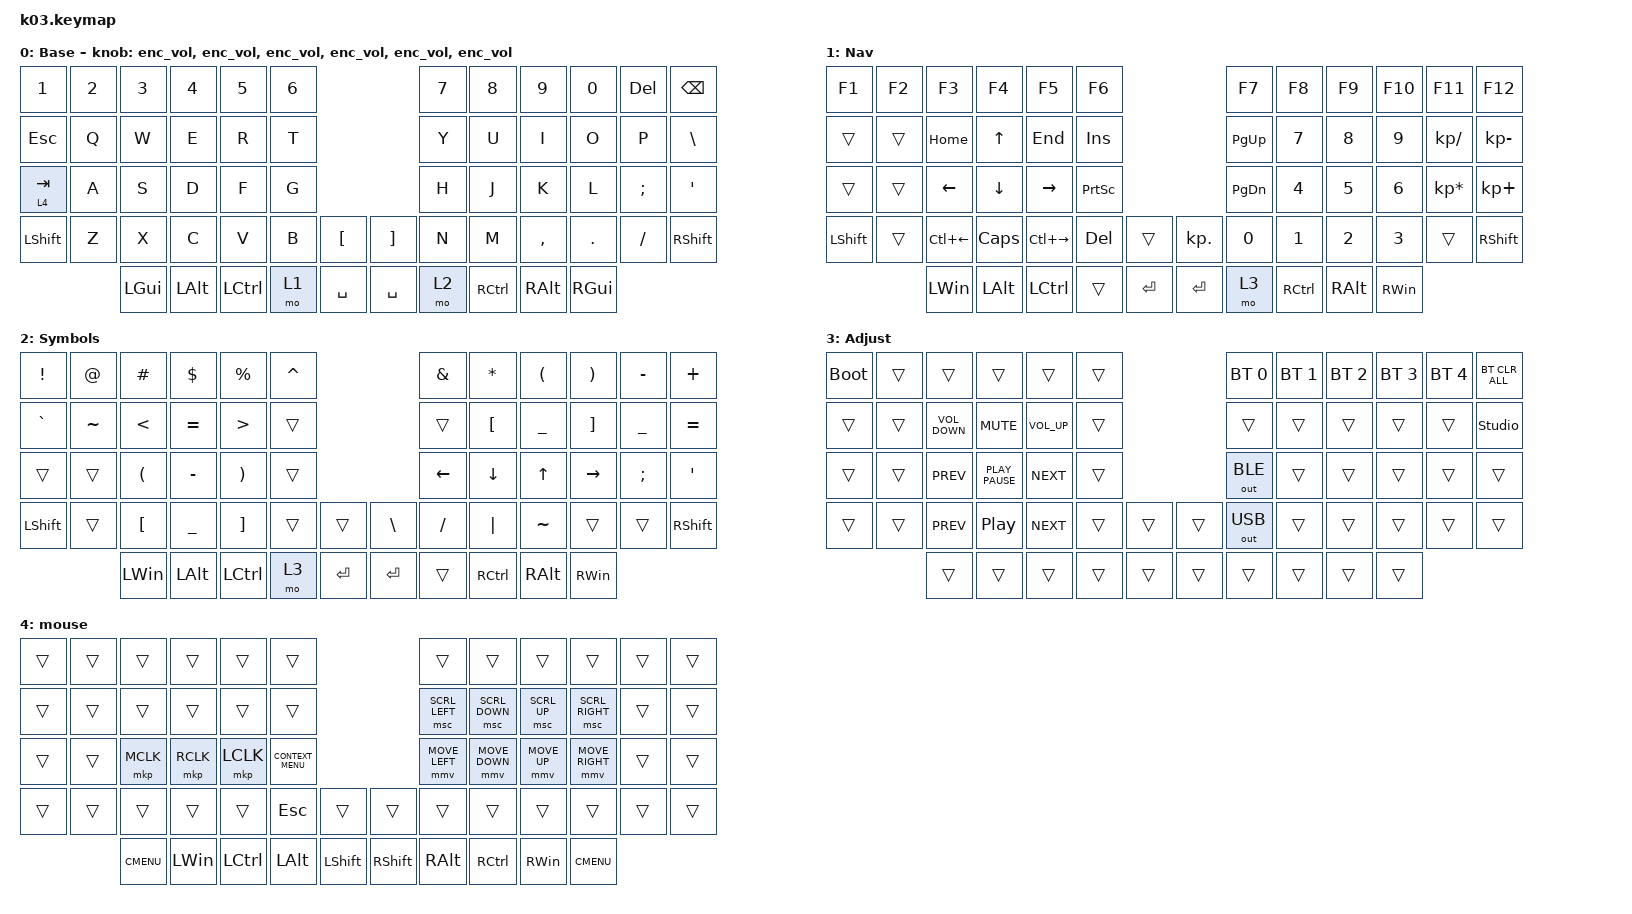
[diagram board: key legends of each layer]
#include "keys_ru.h"
#include <behaviors.dtsi>
#include <dt-bindings/zmk/bt.h>
#include <dt-bindings/zmk/keys.h>
#include <dt-bindings/zmk/outputs.h>
#include <dt-bindings/zmk/pointing.h>

&mmv {
    x-input-code = <5>;
    y-input-code = <5>;
    acceleration-exponent = <2>;
};

/ {
    behaviors {
        enc_vol: enc_vol {
            compatible = "zmk,behavior-sensor-rotate";
            label = "ENC_VOL";
            #sensor-binding-cells = <0>;
            bindings = <&kp C_VOL_UP>, <&kp C_VOL_DN>;
        };
    };

    keymap {
        compatible = "zmk,keymap";

        base {
            bindings = <
&kp N1     &kp N2  &kp N3    &kp N4    &kp N5     &kp N6                          &kp N7  &kp N8     &kp N9     &kp N0    &kp DELETE  &kp BSPC
&kp ESC    &kp Q   &kp W     &kp E     &kp R      &kp T                           &kp Y   &kp U      &kp I      &kp O     &kp P       &kp BSLH
&lt 4 TAB  &kp A   &kp S     &kp D     &kp F      &kp G                           &kp H   &kp J      &kp K      &kp L     &kp SEMI    &kp SQT
&kp LSHFT  &kp Z   &kp X     &kp C     &kp V      &kp B   &kp LBKT     &kp RBKT   &kp N   &kp M      &kp COMMA  &kp DOT   &kp FSLH    &kp RSHFT
                   &kp LGUI  &kp LALT  &kp LCTRL  &mo 1   &kp SPACE    &kp SPACE  &mo 2   &kp RCTRL  &kp RALT   &kp RGUI
            >;

            display-name = "Base";
            sensor-bindings =
                <&enc_vol>,
                <&enc_vol>,
                <&enc_vol>,
                <&enc_vol>,
                <&enc_vol>,
                <&enc_vol>;
        };

        nav {
            bindings = <
&kp F1     &kp F2  &kp F3        &kp F4        &kp F5         &kp F6                              &kp F7     &kp F8     &kp F9    &kp F10        &kp F11          &kp F12
&trans     &trans  &kp HOME      &kp UP        &kp END        &kp INS                             &kp PG_UP  &kp N7     &kp N8    &kp N9         &kp KP_DIVIDE    &kp KP_SUBTRACT
&trans     &trans  &kp LEFT      &kp DOWN      &kp RIGHT      &kp PSCRN                           &kp PG_DN  &kp N4     &kp N5    &kp N6         &kp KP_MULTIPLY  &kp KP_PLUS
&kp LSHFT  &trans  &kp LC(LEFT)  &kp CAPS      &kp LC(RIGHT)  &kp DEL    &trans       &kp KP_DOT  &kp N0     &kp N1     &kp N2    &kp N3         &trans           &kp RSHFT
                   &kp LEFT_WIN  &kp LEFT_ALT  &kp LCTRL      &trans     &kp ENTER    &kp ENTER   &mo 3      &kp RCTRL  &kp RALT  &kp RIGHT_WIN
            >;

            display-name = "Nav";
        };

        sym {
            bindings = <
&kp EXCLAMATION  &kp AT_SIGN  &kp HASH          &kp DLLR        &kp PERCENT        &kp CARET                              &kp AMPERSAND  &kp STAR           &kp LEFT_PARENTHESIS  &kp RIGHT_PARENTHESIS  &kp MINUS  &kp PLUS
&kp GRAVE        &kp TILDE    &kp LT            &kp EQUAL       &kp GT             &trans                                 &trans         &kp LBKT           &kp UNDER             &kp RBKT               &kp UNDER  &kp EQUAL
&trans           &trans       &kp LPAR          &kp MINUS       &kp RPAR           &trans                                 &kp LEFT       &kp DOWN           &kp UP                &kp RIGHT              &kp SEMI   &kp SINGLE_QUOTE
&kp LEFT_SHIFT   &trans       &kp LEFT_BRACKET  &kp UNDERSCORE  &kp RIGHT_BRACKET  &trans     &trans       &kp BACKSLASH  &kp SLASH      &kp PIPE           &kp TILDE             &trans                 &trans     &kp RIGHT_SHIFT
                              &kp LEFT_WIN      &kp LEFT_ALT    &kp LEFT_CONTROL   &mo 3      &kp ENTER    &kp ENTER      &trans         &kp RIGHT_CONTROL  &kp RALT              &kp RIGHT_WIN
            >;

            display-name = "Symbols";
        };

        adj {
            bindings = <
&bootloader  &trans  &trans             &trans            &trans           &trans                    &bt BT_SEL 0  &bt BT_SEL 1  &bt BT_SEL 2  &bt BT_SEL 3  &bt BT_SEL 4  &bt BT_CLR_ALL
&trans       &trans  &kp C_VOLUME_DOWN  &kp K_MUTE        &kp C_VOLUME_UP  &trans                    &trans        &trans        &trans        &trans        &trans        &studio_unlock
&trans       &trans  &kp K_PREV         &kp K_PLAY_PAUSE  &kp K_NEXT       &trans                    &out OUT_BLE  &trans        &trans        &trans        &trans        &trans
&trans       &trans  &kp C_PREV         &kp C_PLAY_PAUSE  &kp C_NEXT       &trans  &trans    &trans  &out OUT_USB  &trans        &trans        &trans        &trans        &trans
                     &trans             &trans            &trans           &trans  &trans    &trans  &trans        &trans        &trans        &trans
            >;

            display-name = "Adjust";
        };

        mouse {
            bindings = <
&trans  &trans  &trans       &trans        &trans     &trans                                                 &trans          &trans          &trans         &trans           &trans  &trans
&trans  &trans  &trans       &trans        &trans     &trans                                                 &msc SCRL_LEFT  &msc SCRL_DOWN  &msc SCRL_UP   &msc SCRL_RIGHT  &trans  &trans
&trans  &trans  &mkp MCLK    &mkp RCLK     &mkp LCLK  &kp K_CONTEXT_MENU                                     &mmv MOVE_LEFT  &mmv MOVE_DOWN  &mmv MOVE_UP   &mmv MOVE_RIGHT  &trans  &trans
&trans  &trans  &trans       &trans        &trans     &kp ESC             &trans            &trans           &trans          &trans          &trans         &trans           &trans  &trans
                &kp K_CMENU  &kp LEFT_WIN  &kp LCTRL  &kp LEFT_ALT        &kp LEFT_SHIFT    &kp RIGHT_SHIFT  &kp RIGHT_ALT   &kp RCTRL       &kp RIGHT_WIN  &kp K_CMENU
            >;
        };
    };
};
